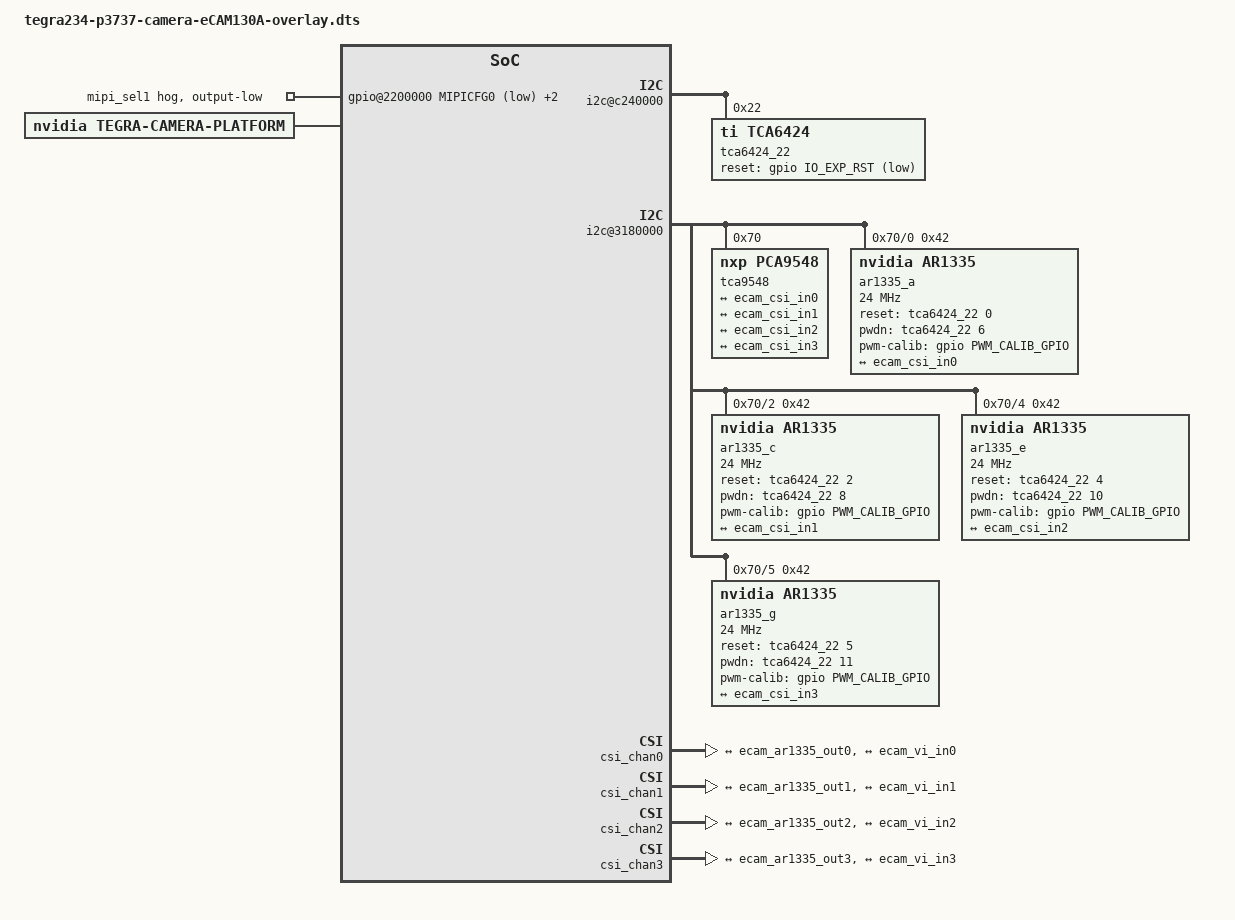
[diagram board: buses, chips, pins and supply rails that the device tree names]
/* SPDX-License-Identifier: GPL-2.0 */
/* SPDX-FileCopyrightText: Copyright (c) 2017-2024, NVIDIA CORPORATION & AFFILIATES. All rights reserved. */

/dts-v1/;
/plugin/;

#include <dt-bindings/clock/tegra234-clock.h>
#include <dt-bindings/gpio/tegra234-gpio.h>
#include <dt-bindings/tegra234-p3737-0000+p3701-0000.h>

#define IO_EXP_RST	TEGRA234_MAIN_GPIO(AC, 1)
#define MIPICFG0	TEGRA234_MAIN_GPIO(H, 3)
#define MIPICFG1	TEGRA234_MAIN_GPIO(H, 6)
#define MIPICFG2       TEGRA234_MAIN_GPIO(AC, 0)

#define PWM_CALIB_GPIO TEGRA234_MAIN_GPIO(AC, 7)

#define CAM_LANES 4
#define CAM_LANES_STRING "4"

/ {
	overlay-name = "Jetson Camera AR1335";
	jetson-header-name = "Jetson AGX CSI Connector";
	compatible = JETSON_COMPATIBLE;

	fragment@0 {
		target-path = "/";
		__overlay__ {
			bus@0 {
				gpio@2200000 {
					camera-control-output-low {
						gpio-hog;
						output-low;
						gpios =  <MIPICFG0 1 MIPICFG1 1 MIPICFG2 0>;
						label = "mipi_sel1", "mipi_sel2", "mipi_sel_3";
						status = "okay";
					};
				};
				i2c@c240000 {
					#address-cells = <1>;
					#size-cells = <0>;
					tca6424_22: tca6424@22 {
						compatible = "ti,tca6424";
						gpio-controller;
						#gpio-cells = <2>;
						reg = <0x22>;
						reset-gpios = <&gpio IO_EXP_RST GPIO_ACTIVE_LOW>;
						status = "okay";
					};
				};
				i2c@3180000 {
					#address-cells = <1>;
					#size-cells = <0>;
					tca9548@70 {
						status = "okay";
						compatible = "nxp,pca9548";
						reg = <0x70>;
						#address-cells = <1>;
						#size-cells = <0>;
						skip_mux_detect;
						i2c@0 {
							reg = <0>;
							i2c-mux,deselect-on-exit;
							#address-cells = <1>;
							#size-cells = <0>;
							ar1335_a@42 {
								status = "okay";
								compatible = "nvidia,ar1335";
								reg = <0x42>;
								sensor_model ="ar1335";
								avdd-reg = "vana";
								iovdd-reg = "vif";
								clocks = <&bpmp TEGRA234_CLK_EXTPERIPH1>,
									 <&bpmp TEGRA234_CLK_PLLP_OUT0>;
								clock-names = "extperiph1", "pllp_grtba";
								mclk = "extperiph1";
								clock-frequency = <24000000>;
								reset-gpios = <&tca6424_22 0 GPIO_ACTIVE_HIGH>;
								pwdn-gpios = <&tca6424_22 6 GPIO_ACTIVE_HIGH>;
								use_sensor_mode_id = "false";
								camera_mipi_lanes = <CAM_LANES>;
								pwm-upper_limit = <342>;
								pwm-lower_limit = <340>;
								pwm-invert= <1>;
								pwm-duty_ns = <0x1CBC720>;
								pwm-period_ns = <0x2045B80>;
								pwm-calib-gpio = <&gpio PWM_CALIB_GPIO GPIO_ACTIVE_HIGH>;
								pwm-name = "ecam-trigger";
								mode0 { // MODE_640X480
									mclk_khz = "24000";
									num_lanes = CAM_LANES_STRING;
									tegra_sinterface = "serial_a";
									phy_mode = "DPHY";
									discontinuous_clk = "no";
									dpcm_enable = "false";
									cil_settletime = "0";
									dynamic_pixel_bit_depth = "16";
									csi_pixel_bit_depth = "16";
									mode_type = "yuv";

									active_w = "640";
									active_h = "480";
									pixel_phase = "uyvy";
									readout_orientation = "0";
									deskew_initial_enable = "false";
									line_length = "2000";
									inherent_gain = "1";
									mclk_multiplier = "18";
									pix_clk_hz = "300000000";

									min_gain_val = "0"; /* dB */
									max_gain_val = "48"; /* dB */
									step_gain_val = "1";
									default_gain = "0";
									min_hdr_ratio = "1";
									max_hdr_ratio = "1";
									min_framerate = "1";
									max_framerate = "100";
									step_framerate = "1";
									default_framerate = "30000000";
									min_exp_time = "1";
									max_exp_time = "43000000";
								};
								mode1 { // MODE_1280X720
									mclk_khz = "24000";
									num_lanes = CAM_LANES_STRING;
									tegra_sinterface = "serial_a";
									phy_mode = "DPHY";
									discontinuous_clk = "no";
									dpcm_enable = "false";
									cil_settletime = "0";
									dynamic_pixel_bit_depth = "16";
									csi_pixel_bit_depth = "16";
									mode_type = "yuv";
									pixel_phase = "uyvy";
									active_w = "1280";
									active_h = "720";
									readout_orientation = "0";
									deskew_initial_enable = "false";
									line_length = "2000";
									inherent_gain = "1";
									mclk_multiplier = "18";
									pix_clk_hz = "350000000";

									min_gain_val = "0"; /* dB */
									max_gain_val = "48"; /* dB */
									default_gain = "0";
									min_hdr_ratio = "1";
									max_hdr_ratio = "1";
									min_framerate = "1";
									max_framerate = "72";
									default_framerate = "30";
									min_exp_time = "30";
									max_exp_time = "660000";
								};
								mode2 { // MODE_1920X1080
									mclk_khz = "24000";
									num_lanes = CAM_LANES_STRING;
									tegra_sinterface = "serial_a";
									phy_mode = "DPHY";
									discontinuous_clk = "no";
									dpcm_enable = "false";
									cil_settletime = "0";
									dynamic_pixel_bit_depth = "16";
									csi_pixel_bit_depth = "16";
									mode_type = "yuv";
									pixel_phase = "uyvy";

									active_w = "1920";
									active_h = "1080";
									readout_orientation = "0";
									deskew_initial_enable = "false";
									line_length = "2000";
									inherent_gain = "1";
									mclk_multiplier = "18";
									pix_clk_hz = "350000000";

									min_gain_val = "0"; /* dB */
									max_gain_val = "48"; /* dB */
									default_gain = "0";
									min_hdr_ratio = "1";
									max_hdr_ratio = "1";
									min_framerate = "1.5";
									max_framerate = "72";
									default_framerate = "30";
									min_exp_time = "30";
									max_exp_time = "660000";
								};
								mode3 { // MODE_3840X2160
									mclk_khz = "24000";
									num_lanes = CAM_LANES_STRING;
									tegra_sinterface = "serial_a";
									phy_mode = "DPHY";
									discontinuous_clk = "no";
									dpcm_enable = "false";
									cil_settletime = "0";
									dynamic_pixel_bit_depth = "16";
									csi_pixel_bit_depth = "16";
									mode_type = "yuv";
									pixel_phase = "uyvy";

									active_w = "3840";
									active_h = "2160";
									readout_orientation = "0";
									dskew_initial_enable = "false";
									line_length = "2000";
									inherent_gain = "1";
									mclk_multiplier = "18";
									pix_clk_hz = "350000000";

									min_gain_val = "0"; /* dB */
									max_gain_val = "48"; /* dB */
									default_gain = "0";
									min_hdr_ratio = "1";
									max_hdr_ratio = "1";
									min_framerate = "1";
									max_framerate = "30";
									default_framerate = "30";
									min_exp_time = "30";
									max_exp_time = "660000";
								};
								mode4 { // MODE_4096X2160
									mclk_khz = "24000";
									num_lanes = CAM_LANES_STRING;
									tegra_sinterface = "serial_a";
									phy_mode = "DPHY";
									discontinuous_clk = "no";
									dpcm_enable = "false";
									cil_settletime = "0";
									dynamic_pixel_bit_depth = "16";
									csi_pixel_bit_depth = "16";
									mode_type = "yuv";
									pixel_phase = "uyvy";

									active_w = "4096";
									active_h = "2160";
									readout_orientation = "0";
									deskew_initial_enable = "false";
									line_length = "2000";
									inherent_gain = "1";
									mclk_multiplier = "18";
									pix_clk_hz = "350000000";

									min_gain_val = "0"; /* dB */
									max_gain_val = "48"; /* dB */
									default_gain = "0";
									min_hdr_ratio = "1";
									max_hdr_ratio = "1";
									min_framerate = "1";
									max_framerate = "19";
									default_framerate = "30";
									min_exp_time = "30";
									max_exp_time = "660000";
								};
								mode5 { // MODE_4192X3120
									mclk_khz = "24000";
									num_lanes = CAM_LANES_STRING;
									tegra_sinterface = "serial_a";
									phy_mode = "DPHY";
									discontinuous_clk = "no";
									dpcm_enable = "false";
									cil_settletime = "0";
									dynamic_pixel_bit_depth = "16";
									csi_pixel_bit_depth = "16";
									mode_type = "yuv";
									pixel_phase = "uyvy";

									active_w = "4192";
									active_h = "3120";
									readout_orientation = "0";
									deskew_initial_enable = "false";
									line_length = "2000";
									inherent_gain = "1";
									mclk_multiplier = "18";
									pix_clk_hz = "1152000000";

									min_gain_val = "0"; /* dB */
									max_gain_val = "48"; /* dB */
									default_gain = "0";
									min_hdr_ratio = "1";
									max_hdr_ratio = "1";
									min_framerate = "1";
									max_framerate = "19";
									default_framerate = "30";
									min_exp_time = "30";
									max_exp_time = "660000";
								};
								ports {
								#address-cells = <1>;
								#size-cells = <0>;
									port@0 {
										reg = <0>;
										ecam_ar1335_out0: endpoint {
											port-index = <0>;
											bus-width = <CAM_LANES>;
											remote-endpoint = <&ecam_csi_in0>;
										};
									};
								};
							};
						};
						i2c@2{
							reg = <2>;
							i2c-mux,deselect-on-exit;
							#address-cells = <1>;
							#size-cells = <0>;
							ar1335_c@42 {
								status = "okay";
								compatible = "nvidia,ar1335";
								reg = <0x42>;
								sensor_model ="ar1335";
								avdd-reg = "vana";
								iovdd-reg = "vif";
								clocks = <&bpmp TEGRA234_CLK_EXTPERIPH1>,
									 <&bpmp TEGRA234_CLK_PLLP_OUT0>;
								clock-names = "extperiph1", "pllp_grtba";
								mclk = "extperiph1";
								clock-frequency = <24000000>;
								reset-gpios = <&tca6424_22 2 GPIO_ACTIVE_HIGH>;
								pwdn-gpios = <&tca6424_22 8 GPIO_ACTIVE_HIGH>;
								use_sensor_mode_id = "false";
								camera_mipi_lanes = <CAM_LANES>;
								pwm-upper_limit = <342>;
								pwm-lower_limit = <340>;
								pwm-invert= <1>;
								pwm-duty_ns = <0x1CBC720>;
								pwm-period_ns = <0x2045B80>;
								pwm-calib-gpio = <&gpio PWM_CALIB_GPIO GPIO_ACTIVE_HIGH>;
								pwm-name = "ecam-trigger";
								mode0 { // MODE_640X480
									mclk_khz = "24000";
									num_lanes = CAM_LANES_STRING;
									tegra_sinterface = "serial_c";
									phy_mode = "DPHY";
									discontinuous_clk = "no";
									dpcm_enable = "false";
									cil_settletime = "0";
									dynamic_pixel_bit_depth = "16";
									csi_pixel_bit_depth = "16";
									mode_type = "yuv";

									active_w = "640";
									active_h = "480";
									pixel_phase = "uyvy";
									readout_orientation = "0";
									deskew_initial_enable = "false";
									line_length = "2000";
									inherent_gain = "1";
									mclk_multiplier = "18";
									pix_clk_hz = "300000000";

									min_gain_val = "0"; /* dB */
									max_gain_val = "48"; /* dB */
									step_gain_val = "1";
									default_gain = "0";
									min_hdr_ratio = "1";
									max_hdr_ratio = "1";
									min_framerate = "1";
									max_framerate = "100";
									step_framerate = "1";
									default_framerate = "30000000";
									min_exp_time = "1";
									max_exp_time = "43000000";
								};
								mode1 { // MODE_1280X720
									mclk_khz = "24000";
									num_lanes = CAM_LANES_STRING;
									tegra_sinterface = "serial_c";
									phy_mode = "DPHY";
									discontinuous_clk = "no";
									dpcm_enable = "false";
									cil_settletime = "0";
									dynamic_pixel_bit_depth = "16";
									csi_pixel_bit_depth = "16";
									mode_type = "yuv";
									pixel_phase = "uyvy";
									active_w = "1280";
									active_h = "720";
									readout_orientation = "0";
									deskew_initial_enable = "false";
									line_length = "2000";
									inherent_gain = "1";
									mclk_multiplier = "18";
									pix_clk_hz = "350000000";

									min_gain_val = "0"; /* dB */
									max_gain_val = "48"; /* dB */
									default_gain = "0";
									min_hdr_ratio = "1";
									max_hdr_ratio = "1";
									min_framerate = "1";
									max_framerate = "72";
									default_framerate = "30";
									min_exp_time = "30";
									max_exp_time = "660000";
								};
								mode2 { // MODE_1920X1080
									mclk_khz = "24000";
									num_lanes = CAM_LANES_STRING;
									tegra_sinterface = "serial_c";
									phy_mode = "DPHY";
									discontinuous_clk = "no";
									dpcm_enable = "false";
									cil_settletime = "0";
									dynamic_pixel_bit_depth = "16";
									csi_pixel_bit_depth = "16";
									mode_type = "yuv";
									pixel_phase = "uyvy";

									active_w = "1920";
									active_h = "1080";
									readout_orientation = "0";
									deskew_initial_enable = "false";
									line_length = "2000";
									inherent_gain = "1";
									mclk_multiplier = "18";
									pix_clk_hz = "350000000";

									min_gain_val = "0"; /* dB */
									max_gain_val = "48"; /* dB */
									default_gain = "0";
									min_hdr_ratio = "1";
									max_hdr_ratio = "1";
									min_framerate = "1.5";
									max_framerate = "72";
									default_framerate = "30";
									min_exp_time = "30";
									max_exp_time = "660000";
								};
								mode3 { // MODE_3840X2160
									mclk_khz = "24000";
									num_lanes = CAM_LANES_STRING;
									tegra_sinterface = "serial_c";
									phy_mode = "DPHY";
									discontinuous_clk = "no";
									dpcm_enable = "false";
									cil_settletime = "0";
									dynamic_pixel_bit_depth = "16";
									csi_pixel_bit_depth = "16";
									mode_type = "yuv";
									pixel_phase = "uyvy";

									active_w = "3840";
									active_h = "2160";
									readout_orientation = "0";
									dskew_initial_enable = "false";
									line_length = "2000";
									inherent_gain = "1";
									mclk_multiplier = "18";
									pix_clk_hz = "350000000";

									min_gain_val = "0"; /* dB */
									max_gain_val = "48"; /* dB */
									default_gain = "0";
									min_hdr_ratio = "1";
									max_hdr_ratio = "1";
									min_framerate = "1";
									max_framerate = "30";
									default_framerate = "30";
									min_exp_time = "30";
									max_exp_time = "660000";
								};
								mode4 { // MODE_4096X2160
									mclk_khz = "24000";
									num_lanes = CAM_LANES_STRING;
									tegra_sinterface = "serial_c";
									phy_mode = "DPHY";
									discontinuous_clk = "no";
									dpcm_enable = "false";
									cil_settletime = "0";
									dynamic_pixel_bit_depth = "16";
									csi_pixel_bit_depth = "16";
									mode_type = "yuv";
									pixel_phase = "uyvy";

									active_w = "4096";
									active_h = "2160";
									readout_orientation = "0";
									deskew_initial_enable = "false";
									line_length = "2000";
									inherent_gain = "1";
									mclk_multiplier = "18";
									pix_clk_hz = "350000000";

									min_gain_val = "0"; /* dB */
									max_gain_val = "48"; /* dB */
									default_gain = "0";
									min_hdr_ratio = "1";
									max_hdr_ratio = "1";
									min_framerate = "1";
									max_framerate = "19";
									default_framerate = "30";
									min_exp_time = "30";
									max_exp_time = "660000";
								};
								mode5 { // MODE_4192X3120
									mclk_khz = "24000";
									num_lanes = CAM_LANES_STRING;
									tegra_sinterface = "serial_c";
									phy_mode = "DPHY";
									discontinuous_clk = "no";
									dpcm_enable = "false";
									cil_settletime = "0";
									dynamic_pixel_bit_depth = "16";
									csi_pixel_bit_depth = "16";
									mode_type = "yuv";
									pixel_phase = "uyvy";

									active_w = "4192";
									active_h = "3120";
									readout_orientation = "0";
									deskew_initial_enable = "false";
									line_length = "2000";
									inherent_gain = "1";
									mclk_multiplier = "18";
									pix_clk_hz = "1152000000";

									min_gain_val = "0"; /* dB */
									max_gain_val = "48"; /* dB */
									default_gain = "0";
									min_hdr_ratio = "1";
									max_hdr_ratio = "1";
									min_framerate = "1";
									max_framerate = "19";
									default_framerate = "30";
									min_exp_time = "30";
									max_exp_time = "660000";
								};
								ports {
								#address-cells = <1>;
								#size-cells = <0>;
									port@0 {
										reg = <0>;
										ecam_ar1335_out1: endpoint {
											port-index = <2>;
											bus-width = <CAM_LANES>;
											remote-endpoint = <&ecam_csi_in1>;
										};
									};
								};
							};
						};
						i2c@4{
							reg = <4>;
							i2c-mux,deselect-on-exit;
							#address-cells = <1>;
							#size-cells = <0>;
							ar1335_e@42 {
								status = "okay";
								compatible = "nvidia,ar1335";
								reg = <0x42>;
								sensor_model ="ar1335";
								avdd-reg = "vana";
								iovdd-reg = "vif";
								clocks = <&bpmp TEGRA234_CLK_EXTPERIPH1>,
									 <&bpmp TEGRA234_CLK_PLLP_OUT0>;
								clock-names = "extperiph1", "pllp_grtba";
								mclk = "extperiph1";
								clock-frequency = <24000000>;
								reset-gpios = <&tca6424_22 4 GPIO_ACTIVE_HIGH>;
								pwdn-gpios =  <&tca6424_22 10 GPIO_ACTIVE_HIGH>;
								use_sensor_mode_id = "false";
								camera_mipi_lanes = <CAM_LANES>;
								pwm-upper_limit = <342>;
								pwm-lower_limit = <340>;
								pwm-invert= <1>;
								pwm-duty_ns = <0x1CBC720>;
								pwm-period_ns = <0x2045B80>;
								pwm-calib-gpio = <&gpio PWM_CALIB_GPIO GPIO_ACTIVE_HIGH>;
								pwm-name = "ecam-trigger";
								mode0 { // MODE_640X480
									mclk_khz = "24000";
									num_lanes = CAM_LANES_STRING;
									tegra_sinterface = "serial_e";
									phy_mode = "DPHY";
									discontinuous_clk = "no";
									dpcm_enable = "false";
									cil_settletime = "0";
									dynamic_pixel_bit_depth = "16";
									csi_pixel_bit_depth = "16";
									mode_type = "yuv";

									active_w = "640";
									active_h = "480";
									pixel_phase = "uyvy";
									readout_orientation = "0";
									deskew_initial_enable = "false";
									line_length = "2000";
									inherent_gain = "1";
									mclk_multiplier = "18";
									pix_clk_hz = "300000000";

									min_gain_val = "0"; /* dB */
									max_gain_val = "48"; /* dB */
									step_gain_val = "1";
									default_gain = "0";
									min_hdr_ratio = "1";
									max_hdr_ratio = "1";
									min_framerate = "1";
									max_framerate = "100";
									step_framerate = "1";
									default_framerate = "30000000";
									min_exp_time = "1";
									max_exp_time = "43000000";
								};
								mode1 { // MODE_1280X720
									mclk_khz = "24000";
									num_lanes = CAM_LANES_STRING;
									tegra_sinterface = "serial_e";
									phy_mode = "DPHY";
									discontinuous_clk = "no";
									dpcm_enable = "false";
									cil_settletime = "0";
									dynamic_pixel_bit_depth = "16";
									csi_pixel_bit_depth = "16";
									mode_type = "yuv";
									pixel_phase = "uyvy";
									active_w = "1280";
									active_h = "720";
									readout_orientation = "0";
									deskew_initial_enable = "false";
									line_length = "2000";
									inherent_gain = "1";
									mclk_multiplier = "18";
									pix_clk_hz = "350000000";

									min_gain_val = "0"; /* dB */
									max_gain_val = "48"; /* dB */
									default_gain = "0";
									min_hdr_ratio = "1";
									max_hdr_ratio = "1";
									min_framerate = "1";
									max_framerate = "72";
									default_framerate = "30";
									min_exp_time = "30";
									max_exp_time = "660000";
								};
								mode2 { // MODE_1920X1080
									mclk_khz = "24000";
									num_lanes = CAM_LANES_STRING;
									tegra_sinterface = "serial_e";
									phy_mode = "DPHY";
									discontinuous_clk = "no";
									dpcm_enable = "false";
									cil_settletime = "0";
									dynamic_pixel_bit_depth = "16";
									csi_pixel_bit_depth = "16";
									mode_type = "yuv";
									pixel_phase = "uyvy";

									active_w = "1920";
									active_h = "1080";
									readout_orientation = "0";
									deskew_initial_enable = "false";
									line_length = "2000";
									inherent_gain = "1";
									mclk_multiplier = "18";
									pix_clk_hz = "350000000";

									min_gain_val = "0"; /* dB */
									max_gain_val = "48"; /* dB */
									default_gain = "0";
									min_hdr_ratio = "1";
									max_hdr_ratio = "1";
									min_framerate = "1.5";
									max_framerate = "72";
									default_framerate = "30";
									min_exp_time = "30";
									max_exp_time = "660000";
								};
								mode3 { // MODE_3840X2160
									mclk_khz = "24000";
									num_lanes = CAM_LANES_STRING;
									tegra_sinterface = "serial_e";
									phy_mode = "DPHY";
									discontinuous_clk = "no";
									dpcm_enable = "false";
									cil_settletime = "0";
									dynamic_pixel_bit_depth = "16";
									csi_pixel_bit_depth = "16";
									mode_type = "yuv";
									pixel_phase = "uyvy";

									active_w = "3840";
									active_h = "2160";
									readout_orientation = "0";
									dskew_initial_enable = "false";
									line_length = "2000";
									inherent_gain = "1";
									mclk_multiplier = "18";
									pix_clk_hz = "350000000";

									min_gain_val = "0"; /* dB */
									max_gain_val = "48"; /* dB */
									default_gain = "0";
									min_hdr_ratio = "1";
									max_hdr_ratio = "1";
									min_framerate = "1";
									max_framerate = "30";
									default_framerate = "30";
									min_exp_time = "30";
									max_exp_time = "660000";
								};
								mode4 { // MODE_4096X2160
									mclk_khz = "24000";
									num_lanes = CAM_LANES_STRING;
									tegra_sinterface = "serial_e";
									phy_mode = "DPHY";
									discontinuous_clk = "no";
									dpcm_enable = "false";
									cil_settletime = "0";
									dynamic_pixel_bit_depth = "16";
									csi_pixel_bit_depth = "16";
									mode_type = "yuv";
									pixel_phase = "uyvy";

									active_w = "4096";
									active_h = "2160";
									readout_orientation = "0";
									deskew_initial_enable = "false";
									line_length = "2000";
									inherent_gain = "1";
									mclk_multiplier = "18";
									pix_clk_hz = "350000000";

									min_gain_val = "0"; /* dB */
									max_gain_val = "48"; /* dB */
									default_gain = "0";
									min_hdr_ratio = "1";
									max_hdr_ratio = "1";
									min_framerate = "1";
									max_framerate = "19";
									default_framerate = "30";
									min_exp_time = "30";
									max_exp_time = "660000";
								};
								mode5 { // MODE_4192X3120
									mclk_khz = "24000";
									num_lanes = CAM_LANES_STRING;
									tegra_sinterface = "serial_e";
									phy_mode = "DPHY";
									discontinuous_clk = "no";
									dpcm_enable = "false";
									cil_settletime = "0";
									dynamic_pixel_bit_depth = "16";
									csi_pixel_bit_depth = "16";
									mode_type = "yuv";
									pixel_phase = "uyvy";

									active_w = "4192";
									active_h = "3120";
									readout_orientation = "0";
									deskew_initial_enable = "false";
									line_length = "2000";
									inherent_gain = "1";
									mclk_multiplier = "18";
									pix_clk_hz = "1152000000";

									min_gain_val = "0"; /* dB */
									max_gain_val = "48"; /* dB */
									default_gain = "0";
									min_hdr_ratio = "1";
									max_hdr_ratio = "1";
									min_framerate = "1";
									max_framerate = "19";
									default_framerate = "30";
									min_exp_time = "30";
									max_exp_time = "660000";
								};
								ports {
									#address-cells = <1>;
									#size-cells = <0>;
									port@0 {
										reg = <0>;
										ecam_ar1335_out2: endpoint {
											port-index = <4>;
											bus-width = <CAM_LANES>;
											remote-endpoint = <&ecam_csi_in2>;
										};
									};
								};
							};
						};
						i2c@5{
							reg = <5>;
							i2c-mux,deselect-on-exit;
							#address-cells = <1>;
							#size-cells = <0>;
							ar1335_g@42 {
								status = "okay";
								compatible = "nvidia,ar1335";
								reg = <0x42>;
								sensor_model ="ar1335";
								avdd-reg = "vana";
								iovdd-reg = "vif";
								clocks = <&bpmp TEGRA234_CLK_EXTPERIPH1>,
									 <&bpmp TEGRA234_CLK_PLLP_OUT0>;
								clock-names = "extperiph1", "pllp_grtba";
								mclk = "extperiph1";
								clock-frequency = <24000000>;
								reset-gpios = <&tca6424_22 5 GPIO_ACTIVE_HIGH>;
								pwdn-gpios =  <&tca6424_22 11 GPIO_ACTIVE_HIGH>;
								use_sensor_mode_id = "false";
								camera_mipi_lanes = <CAM_LANES>;
								pwm-upper_limit = <342>;
								pwm-lower_limit = <340>;
								pwm-invert= <1>;
								pwm-duty_ns = <0x1CBC720>;
								pwm-period_ns = <0x2045B80>;
								pwm-calib-gpio = <&gpio PWM_CALIB_GPIO GPIO_ACTIVE_HIGH>;
								pwm-name = "ecam-trigger";
								mode0 { // MODE_640X480
									mclk_khz = "24000";
									num_lanes = CAM_LANES_STRING;
									tegra_sinterface = "serial_g";
									phy_mode = "DPHY";
									discontinuous_clk = "no";
									dpcm_enable = "false";
									cil_settletime = "0";
									dynamic_pixel_bit_depth = "16";
									csi_pixel_bit_depth = "16";
									mode_type = "yuv";

									active_w = "640";
									active_h = "480";
									pixel_phase = "uyvy";
									readout_orientation = "0";
									deskew_initial_enable = "false";
									line_length = "2000";
									inherent_gain = "1";
									mclk_multiplier = "18";
									pix_clk_hz = "300000000";

									min_gain_val = "0"; /* dB */
									max_gain_val = "48"; /* dB */
									step_gain_val = "1";
									default_gain = "0";
									min_hdr_ratio = "1";
									max_hdr_ratio = "1";
									min_framerate = "1";
									max_framerate = "100";
									step_framerate = "1";
									default_framerate = "30000000";
									min_exp_time = "1";
									max_exp_time = "43000000";
								};
								mode1 { // MODE_1280X720
									mclk_khz = "24000";
									num_lanes = CAM_LANES_STRING;
									tegra_sinterface = "serial_g";
									phy_mode = "DPHY";
									discontinuous_clk = "no";
									dpcm_enable = "false";
									cil_settletime = "0";
									dynamic_pixel_bit_depth = "16";
									csi_pixel_bit_depth = "16";
									mode_type = "yuv";
									pixel_phase = "uyvy";
									active_w = "1280";
									active_h = "720";
									readout_orientation = "0";
									deskew_initial_enable = "false";
									line_length = "2000";
									inherent_gain = "1";
									mclk_multiplier = "18";
									pix_clk_hz = "350000000";

									min_gain_val = "0"; /* dB */
									max_gain_val = "48"; /* dB */
									default_gain = "0";
									min_hdr_ratio = "1";
									max_hdr_ratio = "1";
									min_framerate = "1";
									max_framerate = "72";
									default_framerate = "30";
									min_exp_time = "30";
									max_exp_time = "660000";
								};
								mode2 { // MODE_1920X1080
									mclk_khz = "24000";
									num_lanes = CAM_LANES_STRING;
									tegra_sinterface = "serial_g";
									phy_mode = "DPHY";
									discontinuous_clk = "no";
									dpcm_enable = "false";
									cil_settletime = "0";
									dynamic_pixel_bit_depth = "16";
									csi_pixel_bit_depth = "16";
									mode_type = "yuv";
									pixel_phase = "uyvy";

									active_w = "1920";
									active_h = "1080";
									readout_orientation = "0";
									deskew_initial_enable = "false";
									line_length = "2000";
									inherent_gain = "1";
									mclk_multiplier = "18";
									pix_clk_hz = "350000000";

									min_gain_val = "0"; /* dB */
									max_gain_val = "48"; /* dB */
									default_gain = "0";
									min_hdr_ratio = "1";
									max_hdr_ratio = "1";
									min_framerate = "1.5";
									max_framerate = "72";
									default_framerate = "30";
									min_exp_time = "30";
									max_exp_time = "660000";
								};
								mode3 { // MODE_3840X2160
									mclk_khz = "24000";
									num_lanes = CAM_LANES_STRING;
									tegra_sinterface = "serial_g";
									phy_mode = "DPHY";
									discontinuous_clk = "no";
									dpcm_enable = "false";
									cil_settletime = "0";
									dynamic_pixel_bit_depth = "16";
									csi_pixel_bit_depth = "16";
									mode_type = "yuv";
									pixel_phase = "uyvy";

									active_w = "3840";
									active_h = "2160";
									readout_orientation = "0";
									dskew_initial_enable = "false";
									line_length = "2000";
									inherent_gain = "1";
									mclk_multiplier = "18";
									pix_clk_hz = "350000000";

									min_gain_val = "0"; /* dB */
									max_gain_val = "48"; /* dB */
									default_gain = "0";
									min_hdr_ratio = "1";
									max_hdr_ratio = "1";
									min_framerate = "1";
									max_framerate = "30";
									default_framerate = "30";
									min_exp_time = "30";
									max_exp_time = "660000";
								};
								mode4 { // MODE_4096X2160
									mclk_khz = "24000";
									num_lanes = CAM_LANES_STRING;
									tegra_sinterface = "serial_g";
									phy_mode = "DPHY";
									discontinuous_clk = "no";
									dpcm_enable = "false";
									cil_settletime = "0";
									dynamic_pixel_bit_depth = "16";
									csi_pixel_bit_depth = "16";
									mode_type = "yuv";
									pixel_phase = "uyvy";

									active_w = "4096";
									active_h = "2160";
									readout_orientation = "0";
									deskew_initial_enable = "false";
									line_length = "2000";
									inherent_gain = "1";
									mclk_multiplier = "18";
									pix_clk_hz = "350000000";

									min_gain_val = "0"; /* dB */
									max_gain_val = "48"; /* dB */
									default_gain = "0";
									min_hdr_ratio = "1";
									max_hdr_ratio = "1";
									min_framerate = "1";
									max_framerate = "19";
									default_framerate = "30";
									min_exp_time = "30";
									max_exp_time = "660000";
								};
								mode5 { // MODE_4192X3120
									mclk_khz = "24000";
									num_lanes = CAM_LANES_STRING;
									tegra_sinterface = "serial_g";
									phy_mode = "DPHY";
									discontinuous_clk = "no";
									dpcm_enable = "false";
									cil_settletime = "0";
									dynamic_pixel_bit_depth = "16";
									csi_pixel_bit_depth = "16";
									mode_type = "yuv";
									pixel_phase = "uyvy";

									active_w = "4192";
									active_h = "3120";
									readout_orientation = "0";
									deskew_initial_enable = "false";
									line_length = "2000";
									inherent_gain = "1";
									mclk_multiplier = "18";
									pix_clk_hz = "1152000000";

									min_gain_val = "0"; /* dB */
									max_gain_val = "48"; /* dB */
									default_gain = "0";
									min_hdr_ratio = "1";
									max_hdr_ratio = "1";
									min_framerate = "1";
									max_framerate = "19";
									default_framerate = "30";
									min_exp_time = "30";
									max_exp_time = "660000";
								};
								ports {
									#address-cells = <1>;
									#size-cells = <0>;
									port@0 {
										reg = <0>;
										ecam_ar1335_out3: endpoint {
											port-index = <6>;
											bus-width = <CAM_LANES>;
										remote-endpoint = <&ecam_csi_in3>;
										};
									};
								};
							};
						};
					};
				};

				host1x@13e00000 {
					nvcsi@15a00000 {
						num-channels = <4>;
						#address-cells = <1>;
						#size-cells = <0>;
						csi_chan0: channel@0 {
							status = "okay";
							reg = <0>;
							ports {
								status = "okay";
								#address-cells = <1>;
								#size-cells = <0>;
								csi_chan0_port0: port@0 {
									status = "okay";
									reg = <0>;
									ecam_csi_in0: endpoint@0 {
										status = "okay";
										port-index = <0>;
										bus-width = <CAM_LANES>;
										remote-endpoint = <&ecam_ar1335_out0>;
									};
								};
								csi_chan0_port1: port@1 {
									status = "okay";
									reg = <1>;
									ecam_csi_out0: endpoint@1 {
										status = "okay";
										remote-endpoint = <&ecam_vi_in0>;
									};
								};
							};
						};
						csi_chan1: channel@1 {
							status = "okay";
							reg = <1>;
							ports {
								status = "okay";
								#address-cells = <1>;
								#size-cells = <0>;
								csi_chan1_port0: port@0 {
									status = "okay";
									reg = <0>;
									ecam_csi_in1: endpoint@2 {
										status = "okay";
										port-index = <2>;
										bus-width = <CAM_LANES>;
										remote-endpoint = <&ecam_ar1335_out1>;
									};
								};
								csi_chan1_port1: port@1 {
									status = "okay";
									reg = <1>;
									ecam_csi_out1: endpoint@3 {
										status = "okay";
										remote-endpoint = <&ecam_vi_in1>;
									};
								};
							};
						};
						csi_chan2: channel@2 {
							status = "okay";
							reg = <2>;
							ports {
								status = "okay";
								#address-cells = <1>;
								#size-cells = <0>;
								csi_chan2_port0: port@0 {
									status = "okay";
									reg = <0>;
									ecam_csi_in2: endpoint@4 {
										status = "okay";
										port-index = <4>;
										bus-width = <CAM_LANES>;
										remote-endpoint = <&ecam_ar1335_out2>;
									};
								};
								csi_chan2_port1: port@1 {
									status = "okay";
									reg = <1>;
									ecam_csi_out2: endpoint@5 {
										status = "okay";
										remote-endpoint = <&ecam_vi_in2>;
									};
								};
							};
						};
						csi_chan3: channel@3 {
							status = "okay";
							reg = <3>;
							ports {
								status = "okay";
								#address-cells = <1>;
								#size-cells = <0>;
								csi_chan3_port0: port@0 {
									status = "okay";
									reg = <0>;
									ecam_csi_in3: endpoint@6 {
										status = "okay";
										port-index = <6>;
										bus-width = <CAM_LANES>;
										remote-endpoint = <&ecam_ar1335_out3>;
									};
								};
								csi_chan3_port1: port@1 {
									reg = <1>;
									ecam_csi_out3: endpoint@7 {
										status = "okay";
										remote-endpoint = <&ecam_vi_in3>;
									};
								};
							};
						};
					};
				};
			};

			tegra-capture-vi {
				num-channels = <4>;
				#address-cells = <1>;
				#size-cells = <0>;
				ports {
					status = "okay";
					#address-cells = <1>;
					#size-cells = <0>;
					vi_port0: port@0 {
						status = "okay";
						reg = <0>;
						ecam_vi_in0: endpoint {
							status = "okay";
							port-index = <0>;
							bus-width = <CAM_LANES>;
							remote-endpoint = <&ecam_csi_out0>;
						};
					};
					vi_port1: port@1 {
						status = "okay";
						reg = <1>;
						ecam_vi_in1: endpoint {
							status = "okay";
							port-index = <2>;
							bus-width = <CAM_LANES>;
							remote-endpoint = <&ecam_csi_out1>;
						};
					};
					vi_port2: port@2 {
						status = "okay";
						reg = <2>;
						ecam_vi_in2: endpoint {
							status = "okay";
							port-index = <4>;
							bus-width = <CAM_LANES>;
							remote-endpoint = <&ecam_csi_out2>;
						};
					};
					vi_port3: port@3 {
						status = "okay";
						reg = <3>;
						ecam_vi_in3: endpoint {
							status = "okay";
							port-index = <5>;
							bus-width = <CAM_LANES>;
							remote-endpoint = <&ecam_csi_out3>;
						};
					};
				};
			};

			tegra-camera-platform {
				compatible = "nvidia, tegra-camera-platform";

				modules {
					cam_module0: module0 {
						status = "okay";
						badge = "ecam_hexcu130-1";
						position = "rear1";
						orientation = "1";
						cam_module0_drivernode0: drivernode0 {
							status = "okay";
							pcl_id = "v4l2_sensor";
							sysfs-device-tree = "/sys/firmware/devicetree/base/bus@0/i2c@3180000/tca9548@70/i2c@0/ar1335_a@42";
						};
					};
					cam_module1: module1 {
						status = "okay";
						badge = "ecam_hexcu130-2";
						position = "rear2";
						orientation = "1";
						cam_module1_drivernode0: drivernode0 {
							status = "okay";
							pcl_id = "v4l2_sensor";
							sysfs-device-tree = "/sys/firmware/devicetree/base/bus@0/i2c@3180000/tca9548@70/i2c@2/ar1335_c@42";
						};
					};
					cam_module2: module2 {
						status = "okay";
						badge = "ecam_hexcu130-3";
						position = "rear3";
						orientation = "1";
						cam_module2_drivernode0: drivernode0 {
							status = "okay";
							pcl_id = "v4l2_sensor";
							sysfs-device-tree = "/sys/firmware/devicetree/base/bus@0/i2c@3180000/tca9548@70/i2c@4/ar1335_e@42";
						};
					};
					cam_module3: module3 {
						status = "okay";
						badge = "ecam_hexcu130-4";
						position = "rear4";
						orientation = "1";
						cam_module3_drivernode0: drivernode0 {
							status = "okay";
							pcl_id = "v4l2_sensor";
							sysfs-device-tree = "/sys/firmware/devicetree/base/bus@0/i2c@3180000/tca9548@70/i2c@5/ar1335_g@42";
						};
					};
				};
			};
		};
	};
};
